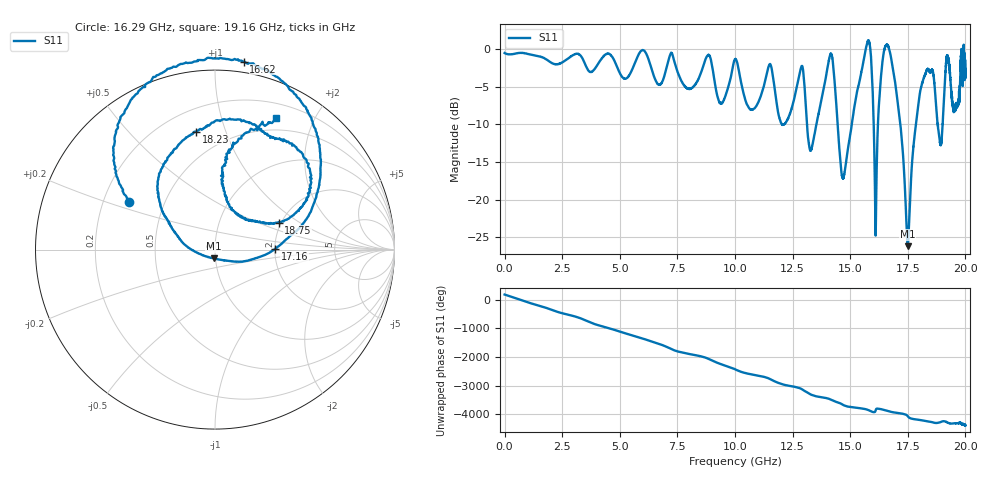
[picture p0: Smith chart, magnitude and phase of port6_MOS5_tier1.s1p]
! Created with skrf 1.8.0 (http://scikit-rf.org).
# GHz S RI R 50.0
!freq ReS11 ImS11
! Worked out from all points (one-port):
!   10001 points, 1 MHz to 20 GHz, reference 50 ohm
!   lowest |S11| = -26.2 dB at 17.49 GHz (marker M1), VSWR 1.10, Z = 49 - j4.77 ohm
!   |S11| at or under -10 dB: 13.12 GHz to 13.53 GHz (411 MHz wide, 3.08 % of centre); 14.46 GHz to 15.07 GHz (612.7 MHz wide, 4.15 % of centre); 17.18 GHz to 17.85 GHz (675.4 MHz wide, 3.86 % of centre) (the widest 3 of 7)
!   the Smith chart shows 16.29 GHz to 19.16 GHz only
!   S11 on the Smith chart (normalised r, x): 16.29 GHz: 0.31, +0.23; 16.62 GHz: -0.07, +1.16; 17.16 GHz: 2.01, +0.02; 18.23 GHz: 0.34, +0.80; 18.75 GHz: 1.94, +0.69; 19.16 GHz: 0.36, +1.51
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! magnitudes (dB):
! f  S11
! 1 MHz  -0.5
! 2.501 GHz  -1.8
! 5.001 GHz  -3.2
! 7.501 GHz  -3.0
! 8.861 GHz  -0.8
! 9.405 GHz  -7.2
! 10 GHz  -1.4
! 10.66 GHz  -8.0
! 11.51 GHz  -2.0
! 12.5 GHz  -7.4
! 12.91 GHz  -2.2
! 13.31 GHz  -13.3
! 14.16 GHz  -0.6
! 14.65 GHz  -16.9
! 15 GHz  -11.4
! 15.79 GHz  1.1
! 16.12 GHz  -22.0
! 16.29 GHz  -5.3
! 16.62 GHz  0.5
! 17.16 GHz  -9.5
! 17.49 GHz  -26.2
! 17.5 GHz  -26.1
! 18.23 GHz  -3.5
! 18.75 GHz  -8.3
! 18.94 GHz  -12.7
! 19.16 GHz  -1.8
! 19.56 GHz  -7.3
! 20 GHz  -1.6
